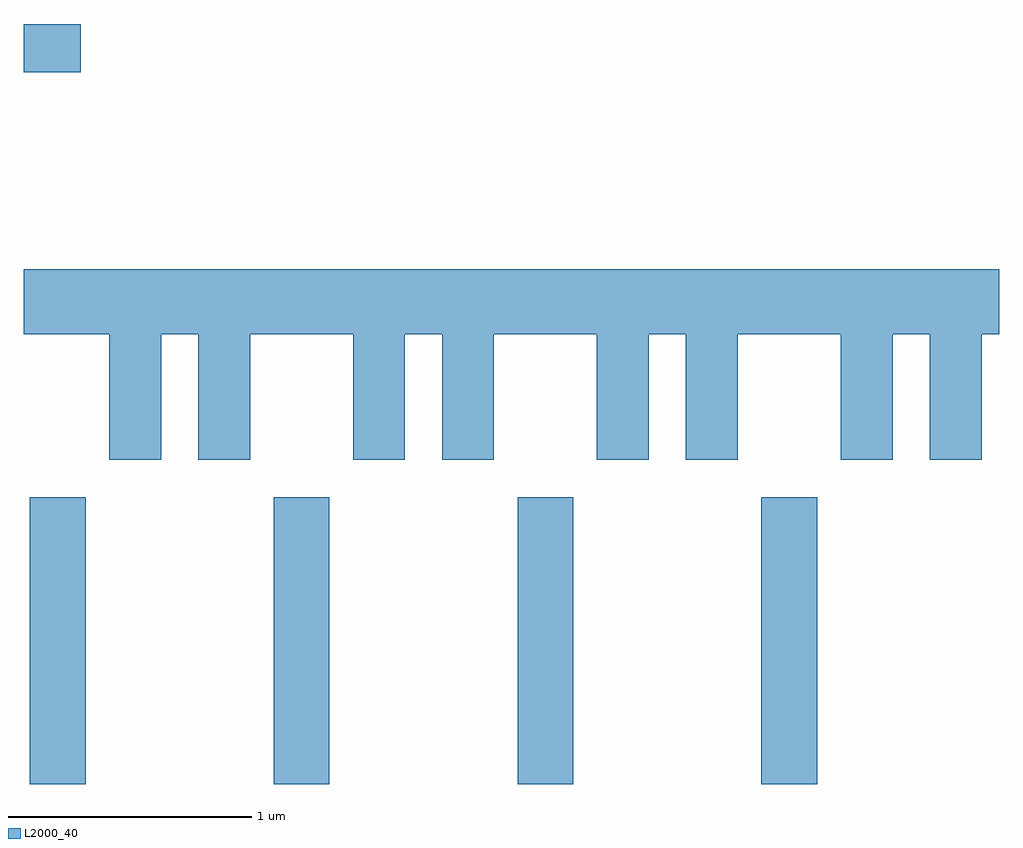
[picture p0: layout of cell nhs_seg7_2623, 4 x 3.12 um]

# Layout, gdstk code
import gdstk
lib = gdstk.Library(unit=1e-6, precision=1e-09)
def R(c, l, rs):  # rectangles x0, y0, x1, y1
    for r in rs: c.add(gdstk.rectangle(r[:2], r[2:], *l))
def A(c, l, x, y, w, h, nx, ny, dx, dy):  # array of equal rectangles
    R(c, l, [(x+i*dx, y+j*dy, x+i*dx+w, y+j*dy+h) for i in range(nx) for j in range(ny)])
def P(c, l, *ps):  # polygons
    for p in ps: c.add(gdstk.Polygon(p, *l))
L2000_40 = (2000, 40)

nhs_seg7_2623 = lib.new_cell('nhs_seg7_2623')
A(nhs_seg7_2623, L2000_40, 265.636, 1710.252, 0.228, 1.177, 4, 1, 1, 0)
R(nhs_seg7_2623, L2000_40, [(265.611,1713.171,265.844,1713.369)])
P(nhs_seg7_2623, L2000_40, [(265.611,1712.096),(265.961,1712.096),(265.961,1711.581),(266.174,1711.581),(266.174,1712.096),(266.326,1712.096),(266.326,1711.581),(266.539,1711.581),(266.539,1712.096),(266.961,1712.096),(266.961,1711.581),(267.174,1711.581),(267.174,1712.096),(267.326,1712.096),(267.326,1711.581),(267.539,1711.581),(267.539,1712.096),(267.961,1712.096),(267.961,1711.581),(268.174,1711.581),(268.174,1712.096),(268.326,1712.096),(268.326,1711.581),(268.539,1711.581),(268.539,1712.096),(268.961,1712.096),(268.961,1711.581),(269.174,1711.581),(269.174,1712.096),(269.326,1712.096),(269.326,1711.581),(269.539,1711.581),(269.539,1712.096),(269.611,1712.096),(269.611,1712.364),(265.611,1712.364)])

lib.write_gds('nhs_seg7_2623.gds')
